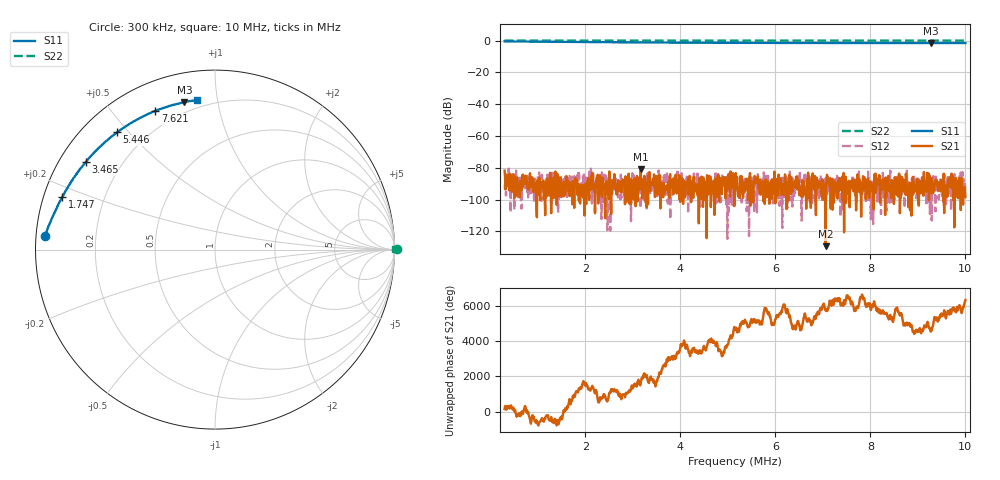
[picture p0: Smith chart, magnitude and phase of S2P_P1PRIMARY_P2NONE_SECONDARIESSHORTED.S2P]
!Keysight Technologies,E5061B,MY49709559,B.05.06
!Date: Thu Apr 07 18:42:45 2022
!Data & Calibration Information:
!Freq	S11:SOLT2(ON)	S21:SOLT2(ON)	S12:SOLT2(ON)	S22:SOLT2(ON)
# Hz S RI R 50
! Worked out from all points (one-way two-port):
!   1000 points, 300 kHz to 10 MHz, reference 50 ohm
!   highest |S21| = -80.86 dB at 3.164 MHz (marker M1); lowest = -129.3 dB at 7.058 MHz (marker M2)
!   lowest |S11| = -1.5 dB at 9.272 MHz (marker M3), VSWR 11.41, Z = 7.24 + j40.2 ohm
!   |S11| at or under -10 dB: nowhere
!   |S22| runs from 0.0 to 0.1 dB; largest |S21 - S12| = 0.00013
!   S11 on the Smith chart (normalised r, x): 300 kHz: 0.03, +0.04; 1.747 MHz: 0.05, +0.17; 3.465 MHz: 0.08, +0.30; 5.446 MHz: 0.10, +0.46; 7.621 MHz: 0.12, +0.65; 10 MHz: 0.16, +0.88
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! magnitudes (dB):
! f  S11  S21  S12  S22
! 300 kHz  -0.5  -81.8  -90.4  0.1
! 377.7 kHz  -0.5  -87.5  -88.2  0.0
! 484.5 kHz  -0.5  -84.2  -82.4  0.0
! 795.2 kHz  -0.6  -91.2  -99.3  0.0
! 1.135 MHz  -0.8  -97.3  -95.7  0.0
! 1.747 MHz  -0.9  -88.2  -89.1  0.0
! 1.922 MHz  -1.0  -92.1  -89.8  0.0
! 2.057 MHz  -1.0  -86.3  -89.4  0.0
! 2.067 MHz  -1.0  -88.7  -97.5  0.0
! 2.164 MHz  -1.0  -90.8  -82.1  0.0
! 2.174 MHz  -1.0  -90.0  -91.8  0.0
! 3.164 MHz  -1.2  -80.9  -105.2  0.0
! 3.465 MHz  -1.2  -98.4  -95.6  0.0
! 3.543 MHz  -1.2  -84.8  -81.6  0.0
! 5.155 MHz  -1.4  -92.1  -86.6  0.0
! 5.446 MHz  -1.4  -86.1  -122.8  0.0
! 6.767 MHz  -1.5  -91.0  -84.5  0.0
! 7.058 MHz  -1.5  -129.3  -85.3  0.0
! 7.621 MHz  -1.5  -93.1  -86.1  0.0
! 8.388 MHz  -1.5  -92.8  -94.0  0.0
! 9.272 MHz  -1.5  -95.4  -89.9  0.0
! 10 MHz  -1.5  -98.4  -92.8  0.0
